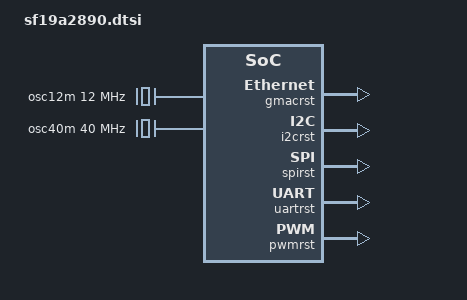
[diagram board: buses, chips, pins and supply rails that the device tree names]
#include <dt-bindings/clock/siflower,sf19a2890-clk.h>
#include <dt-bindings/gpio/gpio.h>
#include <dt-bindings/interrupt-controller/irq.h>
#include <dt-bindings/interrupt-controller/mips-gic.h>

/ {
	compatible = "siflower,sf19a2890";
	#address-cells = <1>;
	#size-cells = <1>;


	aliases {
		serial0 = &uart0;
		serial1 = &uart1;
		serial2 = &uart2;
	};

	chosen {
		bootargs = "earlycon=pl011,mmio32,0x18300000 clk_ignore_unused";
	};

	cpus {
		#address-cells = <1>;
		#size-cells = <0>;

		cpu@0 {
			device_type = "cpu";
			compatible = "mti,interaptiv";
			reg = <0>;
			clocks = <&clk CLK_MUXDIV_CPU>;
			clock-names = "cpu";
			clock-latency = <0>;
		};

		cpu@1 {
			device_type = "cpu";
			compatible = "mti,interaptiv";
			reg = <1>;
			clocks = <&clk CLK_MUXDIV_CPU>;
			clock-names = "cpu";
			clock-latency = <0>;
		};
		cpu@2 {
			device_type = "cpu";
			compatible = "mti,interaptiv";
			reg = <2>;
			clocks = <&clk CLK_MUXDIV_CPU>;
			clock-names = "cpu";
			clock-latency = <0>;
		};
		cpu@3 {
			device_type = "cpu";
			compatible = "mti,interaptiv";
			reg = <3>;
			clocks = <&clk CLK_MUXDIV_CPU>;
			clock-names = "cpu";
			clock-latency = <0>;
		};
	};

	osc12m: oscillator-12m {
		compatible = "fixed-clock";
		clock-frequency = <12000000>;
		#clock-cells = <0>;
		clock-output-names = "osc12m";
	};

	osc40m: oscillator-40m {
		compatible = "fixed-clock";
		clock-frequency = <40000000>;
		#clock-cells = <0>;
		clock-output-names = "osc40m";
	};

	soc {
		#address-cells = <1>;
		#size-cells = <1>;
		compatible = "simple-bus";
		ranges;
		interrupt-parent = <&gic>;

		gmac: ethernet@10800000 {
			compatible = "siflower,sf19a2890-gmac", "snps,dwmac";
			reg = <0x10800000 0x200000>,
				<0x19e04440 0x10>;
			interrupts = <GIC_SHARED 32 IRQ_TYPE_LEVEL_HIGH>,
					<GIC_SHARED 34 IRQ_TYPE_LEVEL_HIGH>,
					<GIC_SHARED 33 IRQ_TYPE_LEVEL_HIGH>;
			interrupt-names = "macirq", "eth_wake_irq", "eth_lpi";
			clocks = <&gmacclk 0>, <&gmacclk 1>, <&gmacclk 3>, <&gmacclk 2>;
			clock-names = "stmmaceth", "pclk", "ptp_ref", "gmac_byp_ref";
			resets = <&gmacrst 0>;
			reset-names = "stmmaceth";
			pinctrl-names = "default";
			pinctrl-0 = <&rgmii_pins>, <&mdio_pins>;
			status = "disabled";

			mdio: mdio {
				compatible = "snps,dwmac-mdio";
				#address-cells = <1>;
				#size-cells = <0>;
			};
		};
		// gdma: dma@11800000 {
		// 	compatible = "arm,pl330", "arm,primecell";
		// 	reg = <0x11800000 0x1000>;
		// 	interrupts = <GIC_SHARED 96 IRQ_TYPE_LEVEL_HIGH>;
		// 	clocks = <&dmaclk 0>, <&dmaclk 2>;
		// 	clock-names = "axiclk", "apb_pclk";
		// 	resets = <&dmarst 2>, <&dmarst 0>;
		// 	reset-names = "dma", "dma-ocp";
		// 	#dma-cells = <1>;
		// 	#dma-channels = <7>;
		// 	#dma-requests = <32>;
		// };

		spi: spi@18202000 {
			compatible = "arm,pl022", "arm,primecell";
			reg = <0x18202000 0x1000>;
			cs-gpios = <&gpio 8 GPIO_ACTIVE_LOW>;
			clocks = <&spiclk 5>, <&spiclk 4>;
			clock-names = "sspclk", "apb_pclk";
			// dmas = <&gdma 4 &gdma 5>;
			// dma-names = "tx", "rx";
			interrupts = <GIC_SHARED 225 IRQ_TYPE_LEVEL_HIGH>;
			resets = <&spirst 5>, <&spirst 4>;
			#address-cells = <1>;
			#size-cells = <0>;
			pinctrl-names = "default";
			pinctrl-0 = <&spi_pins>;
			status = "disabled";
		};

		// missing dma & pinctrl
		uart0: serial@18300000 {
			compatible = "arm,pl011", "arm,primecell";
			reg = <0x18300000 0x1000>;
			interrupts = <GIC_SHARED 226 IRQ_TYPE_LEVEL_HIGH>;
			clocks = <&uartclk 4>, <&uartclk 0>;
			clock-names = "uartclk", "apb_pclk";
			resets = <&uartrst 4>, <&uartrst 0>;
			pinctrl-names = "default";
			pinctrl-0 = <&uart0_pins>;
			status = "disabled";
		};

		uart1: serial@18301000 {
			compatible = "arm,pl011", "arm,primecell";
			reg = <0x18301000 0x1000>;
			interrupts = <GIC_SHARED 227 IRQ_TYPE_LEVEL_HIGH>;
			clocks = <&uartclk 5>, <&uartclk 1>;
			clock-names = "uartclk", "apb_pclk";
			resets = <&uartrst 5>, <&uartrst 1>;
			status = "disabled";
		};

		uart2: serial@18302000 {
			compatible = "arm,pl011", "arm,primecell";
			reg = <0x18302000 0x1000>;
			interrupts = <GIC_SHARED 228 IRQ_TYPE_LEVEL_HIGH>;
			clocks = <&uartclk 6>, <&uartclk 2>;
			clock-names = "uartclk", "apb_pclk";
			resets = <&uartrst 6>, <&uartrst 2>;
			status = "disabled";
		};

		watchdog: watchdog@18700000 {
			compatible = "snps,dw-wdt";
			reg = <0x18700000 0x1000>;
			interrupts = <GIC_SHARED 238 IRQ_TYPE_LEVEL_HIGH>;
			clocks = <&wdtclk 0>;
			resets = <&wdtrst 0>;
		};

		gpio: gpio@19d00000 {
			compatible = "siflower,sf19a2890-gpio";
			reg=<0x19d00000 0x100000>;
			interrupts = <GIC_SHARED 246 IRQ_TYPE_LEVEL_HIGH>,
				     <GIC_SHARED 247 IRQ_TYPE_LEVEL_HIGH>,
				     <GIC_SHARED 248 IRQ_TYPE_LEVEL_HIGH>,
				     <GIC_SHARED 249 IRQ_TYPE_LEVEL_HIGH>;
			clocks = <&gpioclk 0>;
			resets = <&gpiorst 0>;

			gpio-controller;
			#gpio-cells = <2>;
			gpio-ranges = <&pinctrl 0 0 49>;

			interrupt-controller;
			#interrupt-cells = <2>;
		};

		clk: clock-controller@19e01000 {
			compatible = "siflower,sf19a2890-clk";
			reg = <0x19e01000 0x800>;
			clocks = <&osc12m>, <&osc40m>;
			clock-names = "osc12m", "osc40m";
			#clock-cells = <1>;
		};

		brom_sysm: syscon@19e02000 {
			compatible = "syscon", "simple-mfd";
			reg = <0x19e02000 0x100>;

			reboot {
				compatible = "syscon-reboot";
				offset = <0x30>;
				value = <0x1>;
			};
		};

		gmacrst: reset-controller@19e04400 {
			compatible = "siflower,sf19a2890-periph-reset";
			reg = <0x19e04400 0x4>;
			#reset-cells = <1>;
			siflower,reset-masks = <0x7>;
		};

		gmacclk: clock-controller@19e04404 {
			compatible = "siflower,sf19a2890-apbgate";
			reg = <0x19e04404 0xc>;
			clocks = <&clk CLK_MUXDIV_BUS1>, <&clk CLK_MUXDIV_CPU>, <&clk CLK_MUXDIV_GMAC_BYP_REF>, <&clk CLK_MUXDIV_ETH_TSU>;
			clock-output-names = "gmac", "gmac_pclk", "gmac_byp_ref", "ethtsu";
			#clock-cells = <1>;
		};

		dmarst: reset-controller@19e08400 {
			compatible = "siflower,sf19a2890-apbrst";
			reg = <0x19e08400 0x4>;
			#reset-cells = <1>;
		};

		dmaclk: clock-controller@19e08404 {
			compatible = "siflower,sf19a2890-apbgate";
			reg = <0x19e08404 0xc>;
			clocks = <&clk CLK_MUXDIV_BUS2>, <&clk CLK_MUXDIV_BUS2>, <&clk CLK_MUXDIV_CPU>;
			clock-output-names = "dma", "dma2", "dma_csr";
			#clock-cells = <1>;
		};

		i2crst: reset-controller@19e24400 {
			compatible = "siflower,sf19a2890-apbrst";
			reg = <0x19e24400 0x4>;
			#reset-cells = <1>;
		};

		i2cclk: clock-controller@19e24404 {
			compatible = "siflower,sf19a2890-apbgate";
			reg = <0x19e24404 0xc>;
			clocks = <&clk CLK_MUXDIV_PBUS>, <&clk CLK_MUXDIV_PBUS>, <&clk CLK_MUXDIV_PBUS>;
			clock-output-names = "i2c0", "i2c1", "i2c2";
			#clock-cells = <1>;
		};

		spirst: reset-controller@19e24800 {
			compatible = "siflower,sf19a2890-apbrst";
			reg = <0x19e24800 0x4>;
			#reset-cells = <1>;
		};

		spiclk: clock-controller@19e24804 {
			compatible = "siflower,sf19a2890-apbgate";
			reg = <0x19e24804 0xc>;
			clocks = <&clk CLK_MUXDIV_PBUS>, <&clk CLK_MUXDIV_PBUS>, <&clk CLK_MUXDIV_PBUS>,
				 <&clk CLK_MUXDIV_PBUS>, <&clk CLK_MUXDIV_PBUS>, <&clk CLK_MUXDIV_PBUS>;
			clock-output-names = "spi0_apb", "spi0_ssp", "spi1_apb",
					     "spi1_ssp", "spi2_apb", "spi2_ssp";
			#clock-cells = <1>;
		};

		uartrst: reset-controller@19e24c00 {
			compatible = "siflower,sf19a2890-apbrst";
			reg = <0x19e24c00 0x4>;
			#reset-cells = <1>;
		};

		uartclk: clock-controller@19e24c04 {
			compatible = "siflower,sf19a2890-apbgate";
			reg = <0x19e24c04 0xc>;
			clocks = <&clk CLK_MUXDIV_PBUS>, <&clk CLK_MUXDIV_PBUS>, <&clk CLK_MUXDIV_PBUS>, <&clk CLK_MUXDIV_PBUS>,
				 <&clk CLK_MUXDIV_UART>, <&clk CLK_MUXDIV_UART>, <&clk CLK_MUXDIV_UART>, <&clk CLK_MUXDIV_UART>;
			clock-output-names = "uart0_apb", "uart1_apb", "uart2_apb", "uart3_apb",
					     "uart0", "uart1","uart2","uart3";
			#clock-cells = <1>;
		};

		pwmrst: reset-controller@19e25400 {
			compatible = "siflower,sf19a2890-apbrst";
			reg = <0x19e25400 0x4>;
			#reset-cells = <1>;
		};

		pwmclk: clock-controller@19e25404 {
			compatible = "siflower,sf19a2890-apbgate";
			reg = <0x19e25404 0xc>;
			clocks = <&clk CLK_MUXDIV_PBUS>;
			clock-output-names = "pwm";
			#clock-cells = <1>;
		};

		timerrst: reset-controller@19e25800 {
			compatible = "siflower,sf19a2890-apbrst";
			reg = <0x19e25800 0x4>;
			#reset-cells = <1>;
		};

		timerclk: clock-controller@19e25804 {
			compatible = "siflower,sf19a2890-apbgate";
			reg = <0x19e25804 0xc>;
			clocks = <&clk CLK_MUXDIV_PBUS>;
			clock-output-names = "timer";
			#clock-cells = <1>;
		};

		wdtrst: reset-controller@19e25c00 {
			compatible = "siflower,sf19a2890-apbrst";
			reg = <0x19e25c00 0x4>;
			#reset-cells = <1>;
		};

		wdtclk: clock-controller@19e25c04 {
			compatible = "siflower,sf19a2890-apbgate";
			reg = <0x19e25c04 0xc>;
			clocks = <&clk CLK_MUXDIV_PBUS>;
			clock-output-names = "wdt";
			#clock-cells = <1>;
		};

		gpiorst: reset-controller@19e2b400 {
			compatible = "siflower,sf19a2890-apbrst";
			reg = <0x19e2b400 0x4>;
			#reset-cells = <1>;
		};

		gpioclk: clock-controller@19e2b404 {
			compatible = "siflower,sf19a2890-apbgate";
			reg = <0x19e2b404 0xc>;
			clocks = <&clk CLK_MUXDIV_PBUS>;
			clock-output-names = "gpio";
			#clock-cells = <1>;
		};

		pinctrl: pinctrl@19e3fc00 {
			compatible = "siflower,sf19a2890-pinctrl";
			reg = <0x19e3fc00 0x400>;

			spi_pins: spi-pins {
				spi-data {
					pins = "SPI_TXD", "SPI_RXD", "SPI_CLK";
					function = "func0";
				};

				spi-cs {
					PINS = "SPI_CSN";
					bias-pull-up;
				};
			};

			uart0_pins: uart0-pins {
				pins {
					pins = "UART_TX", "UART_RX";
					function = "func0";
				};
			};

			rgmii_pins: rgmii-pins {
				pins {
					pins =  "RGMII_TX_CLK", "RGMII_TXD0",
						"RGMII_TXD1", "RGMII_TXD2",
						"RGMII_TXD3", "RGMII_TXCTL",
						"RGMII_RXCLK", "RGMII_RXD0",
						"RGMII_RXD1", "RGMII_RXD2",
						"RGMII_RXD3", "RGMII_RXCTL";
					function = "func0";
				};
			};

			mdio_pins: mdio-pins {
				pins {
					pins = "RGMII_MDC", "RGMII_MDIO";
					function = "func0";
				};
			};
		};

		gic: interrupt-controller@1bdc0000 {
			compatible = "mti,gic";
			reg = <0x1bdc0000 0x20000>;
			interrupt-controller;
			#interrupt-cells = <3>;
			mti,reserved-ipi-vectors = <0 8>;

			timer {
				compatible = "mti,gic-timer";
				interrupts = <GIC_LOCAL 1 IRQ_TYPE_NONE>;
				clocks = <&clk CLK_MUXDIV_CPU>;
			};
		};


	};
};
